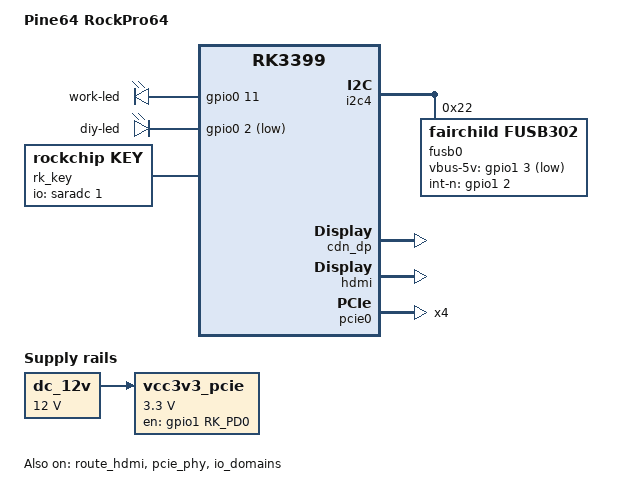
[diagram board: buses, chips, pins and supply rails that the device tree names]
/*
 * Copyright (c) 2017 Fuzhou Rockchip Electronics Co., Ltd
 *
 * This file is dual-licensed: you can use it either under the terms
 * of the GPL or the X11 license, at your option. Note that this dual
 * licensing only applies to this file, and not this project as a
 * whole.
 *
 *  a) This file is free software; you can redistribute it and/or
 *     modify it under the terms of the GNU General Public License as
 *     published by the Free Software Foundation; either version 2 of the
 *     License, or (at your option) any later version.
 *
 *     This file is distributed in the hope that it will be useful,
 *     but WITHOUT ANY WARRANTY; without even the implied warranty of
 *     MERCHANTABILITY or FITNESS FOR A PARTICULAR PURPOSE.  See the
 *     GNU General Public License for more details.
 *
 * Or, alternatively,
 *
 *  b) Permission is hereby granted, free of charge, to any person
 *     obtaining a copy of this software and associated documentation
 *     files (the "Software"), to deal in the Software without
 *     restriction, including without limitation the rights to use,
 *     copy, modify, merge, publish, distribute, sublicense, and/or
 *     sell copies of the Software, and to permit persons to whom the
 *     Software is furnished to do so, subject to the following
 *     conditions:
 *
 *     The above copyright notice and this permission notice shall be
 *     included in all copies or substantial portions of the Software.
 *
 *     THE SOFTWARE IS PROVIDED "AS IS", WITHOUT WARRANTY OF ANY KIND,
 *     EXPRESS OR IMPLIED, INCLUDING BUT NOT LIMITED TO THE WARRANTIES
 *     OF MERCHANTABILITY, FITNESS FOR A PARTICULAR PURPOSE AND
 *     NONINFRINGEMENT. IN NO EVENT SHALL THE AUTHORS OR COPYRIGHT
 *     HOLDERS BE LIABLE FOR ANY CLAIM, DAMAGES OR OTHER LIABILITY,
 *     WHETHER IN AN ACTION OF CONTRACT, TORT OR OTHERWISE, ARISING
 *     FROM, OUT OF OR IN CONNECTION WITH THE SOFTWARE OR THE USE OR
 *     OTHER DEALINGS IN THE SOFTWARE.
 */

/dts-v1/;
#include "rk3399-box.dtsi"

/ {
	model = "Pine64 RockPro64";
	compatible = "pine64,rockpro64", "rockchip,rk3399";

	chosen {
		bootargs = "earlyprintk=uart8250-32bit,0xff1a0000 swiotlb=1";
		stdout-path = "serial2:1500000n8";
	};

	aliases {
		ethernet0 = &gmac;
	};

	/delete-node/ fiq-debugger;

	dc_12v: dc-12v {
		compatible = "regulator-fixed";
		regulator-name = "dc_12v";
		regulator-always-on;
		regulator-boot-on;
		regulator-min-microvolt = <12000000>;
		regulator-max-microvolt = <12000000>;
	};

	vcc3v3_pcie: vcc3v3-pcie-regulator {
		compatible = "regulator-fixed";
		regulator-min-microvolt = <3300000>;
		regulator-max-microvolt = <3300000>;
		enable-active-high;
		regulator-always-on;
		regulator-boot-on;
		gpio = <&gpio1 RK_PD0 GPIO_ACTIVE_HIGH>;
		pinctrl-names = "default";
		pinctrl-0 = <&pcie_pwr_en>;
		regulator-name = "vcc3v3_pcie";
		regulator-enable-ramp-delay = <8000>;
		vin-supply = <&dc_12v>;
	};

	leds {
		status = "okay";
		compatible = "gpio-leds";
		work-led {
			gpios = <&gpio0 11 GPIO_ACTIVE_HIGH>;
			linux,default-trigger = "none";
			default-state = "on";
			mode = <0x23>;
		};
		diy-led {
			gpios = <&gpio0 2 GPIO_ACTIVE_LOW>;
			linux,default-trigger = "none";
			default-state = "on";
			mode = <0x23>;
		};
	};

	rk_key: rockchip-key {
		compatible = "rockchip,key";
		status = "okay";

		io-channels = <&saradc 1>;

		power-key {
			gpios = <&gpio0 5 GPIO_ACTIVE_LOW>;
			linux,code = <116>;
			label = "power";
			gpio-key,wakeup;
		};
	};
};

&host_vbus_drv {
	rockchip,pins =
		<4 26 RK_FUNC_GPIO &pcfg_pull_none>;
};

&vcc5v0_host {
	gpio = <&gpio4 26 GPIO_ACTIVE_HIGH>;
};

&pinctrl {
	pinctrl-names = "default";
	pinctrl-0 = <&cpt_gpio>;

	sdio0 {
		sdio0_bus1: sdio0-bus1 {
			rockchip,pins =
				<2 20 RK_FUNC_1 &pcfg_pull_up_20ma>;
		};

		sdio0_bus4: sdio0-bus4 {
			rockchip,pins =
				<2 20 RK_FUNC_1 &pcfg_pull_up_20ma>,
				<2 21 RK_FUNC_1 &pcfg_pull_up_20ma>,
				<2 22 RK_FUNC_1 &pcfg_pull_up_20ma>,
				<2 23 RK_FUNC_1 &pcfg_pull_up_20ma>;
		};

		sdio0_cmd: sdio0-cmd {
			rockchip,pins =
				<2 24 RK_FUNC_1 &pcfg_pull_up_20ma>;
		};

		sdio0_clk: sdio0-clk {
			rockchip,pins =
				<2 25 RK_FUNC_1 &pcfg_pull_none_20ma>;
		};
	};

	sdmmc {
		sdmmc_bus1: sdmmc-bus1 {
			rockchip,pins =
				<4 8 RK_FUNC_1 &pcfg_pull_up_8ma>;
		};

		sdmmc_bus4: sdmmc-bus4 {
			rockchip,pins =
				<4 8 RK_FUNC_1 &pcfg_pull_up_8ma>,
				<4 9 RK_FUNC_1 &pcfg_pull_up_8ma>,
				<4 10 RK_FUNC_1 &pcfg_pull_up_8ma>,
				<4 11 RK_FUNC_1 &pcfg_pull_up_8ma>;
		};

		sdmmc_clk: sdmmc-clk {
			rockchip,pins =
				<4 12 RK_FUNC_1 &pcfg_pull_none_18ma>;
		};

		sdmmc_cmd: sdmmc-cmd {
			rockchip,pins =
				<4 13 RK_FUNC_1 &pcfg_pull_up_8ma>;
		};
	};

	fusb30x {
		fusb0_int: fusb0-int {
			rockchip,pins =
				<1 2 RK_FUNC_GPIO &pcfg_pull_up>;
		};
	};

	compat {
		cpt_gpio: cpt-gpio {
			rockchip,pins =
				<1 18 RK_FUNC_GPIO &pcfg_output_low>;
		};
	};

	pcie {
		pcie_pwr_en: pcie-pwr-en {
			rockchip,pins =
				<1 RK_PD0 RK_FUNC_GPIO &pcfg_pull_up_20ma>;
		};
		pcie_3g_drv: pcie-3g-drv {
			rockchip,pins =
				<0 2 RK_FUNC_GPIO &pcfg_pull_up>;
		};
	};
};

&i2c4 {
	status = "okay";
	fusb0: fusb30x@22 {
		compatible = "fairchild,fusb302";
		reg = <0x22>;
		pinctrl-names = "default";
		pinctrl-0 = <&fusb0_int>;
		vbus-5v-gpios = <&gpio1 3 GPIO_ACTIVE_LOW>;
		int-n-gpios = <&gpio1 2 GPIO_ACTIVE_HIGH>;
		status = "okay";
	};
};

&cdn_dp {
	status = "okay";
	extcon = <&fusb0>;
};

&hdmi_in_vopl {
	status = "disabled";
};

&dp_in_vopb {
	status = "disabled";
};

&route_hdmi {
	status = "okay";
};

&hdmi {
	status = "okay";
	rockchip,phy-table =
		<74250000 0x8009 0x0004 0x0272>,
		<165000000 0x802b 0x0004 0x0209>,
		<297000000 0x8039 0x0005 0x028d>,
		<594000000 0x8039 0x0000 0x019d>,
		<000000000 0x0000 0x0000 0x0000>;
};

&pcie_phy {
	status = "okay";
};

&pcie0 {
	assigned-clocks = <&cru SCLK_PCIEPHY_REF>;
	assigned-clock-parents = <&cru SCLK_PCIEPHY_REF100M>;
	assigned-clock-rates = <100000000>;
	ep-gpios = <&gpio2 RK_PD4 GPIO_ACTIVE_HIGH>;
	num-lanes = <4>;
	max-link-speed = <2>;
	pinctrl-names = "default";
	pinctrl-0 = <&pcie_clkreqn_cpm>;
	status = "okay";
};

&gmac {
	tx_delay = <0x28>;
	rx_delay = <0x20>;
};

&sdmmc {
	keep-power-in-suspend;
};

&sdhci {
	keep-power-in-suspend;
};

&io_domains {
	status = "okay";
	bt656-supply = <&vcc1v8_s0>;
	audio-supply = <&vcc_3v0>;
	sdmmc-supply = <&vcc_sd>;
	gpio1830-supply = <&vcc_3v0>;
};

&pmu_io_domains {
	status = "okay";
	pmu1830-supply = <&vcc_3v0>;
};

&rk808 {
	/delete-node/ vcc3v0_sd;

	vcca3v0_codec: LDO_REG5 {
		regulator-name = "vcca3v0_codec";
		regulator-min-microvolt = <3000000>;
		regulator-max-microvolt = <3000000>;
		regulator-always-on;
		regulator-boot-on;
		regulator-state-mem {
			regulator-on-in-suspend;
			regulator-suspend-microvolt = <3000000>;
		};
	};
};
